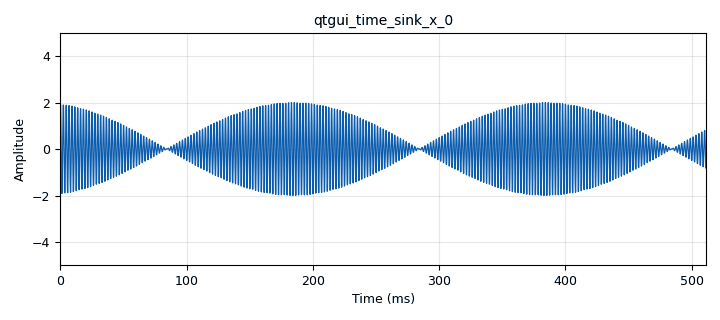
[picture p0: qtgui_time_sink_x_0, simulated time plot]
options:
  parameters:
    author: ibrbe
    generate_options: qt_gui
    id: odev_4
    output_language: python
    title: Not titled yet
  states: {}

blocks:
- name: beat_freq
  id: variable_qtgui_range
  parameters:
    start: '0'
    step: '0.1'
    stop: '10'
    value: '5'
  states: {}
- name: center_freq
  id: variable
  parameters:
    value: '440'
  states: {}
- name: samp_rate
  id: variable
  parameters:
    value: '8000'
  states: {}
- name: analog_sig_source_x_0
  id: analog_sig_source_x
  parameters:
    amp: '1'
    freq: center_freq - beat_freq/2
    offset: '0'
    phase: '0'
    samp_rate: samp_rate
    type: float
    waveform: analog.GR_COS_WAVE
  states: {}
- name: analog_sig_source_x_0_0
  id: analog_sig_source_x
  parameters:
    amp: '1'
    freq: center_freq + beat_freq/2
    offset: '0'
    phase: '0'
    samp_rate: samp_rate
    type: float
    waveform: analog.GR_COS_WAVE
  states: {}
- name: blocks_add_xx_0
  id: blocks_add_xx
  parameters:
    type: float
  states: {}
- name: qtgui_time_sink_x_0
  id: qtgui_time_sink_x
  parameters:
    size: '4096'
    srate: samp_rate
    tr_level: '1.9'
    tr_mode: qtgui.TRIG_MODE_AUTO
    type: float
    update_time: '0.1'
    ymax: '5'
    ymin: '-5'
  states: {}

connections:
- [analog_sig_source_x_0, '0', blocks_add_xx_0, '0']
- [analog_sig_source_x_0_0, '0', blocks_add_xx_0, '1']
- [blocks_add_xx_0, '0', qtgui_time_sink_x_0, '0']

metadata:
  file_format: 1
  grc_version: 3.10.8.0
